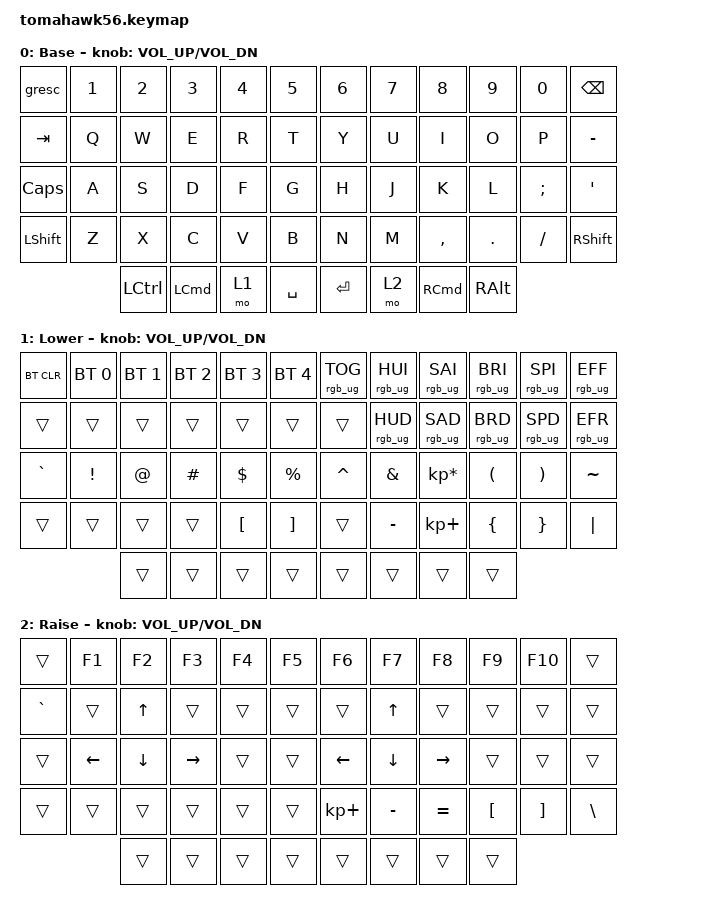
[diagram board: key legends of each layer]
/*
 * Copyright (c) 2020 The ZMK Contributors
 *
 * SPDX-License-Identifier: MIT
 */

#include <behaviors.dtsi>
#include <dt-bindings/zmk/keys.h>
#include <dt-bindings/zmk/bt.h>
#include <dt-bindings/zmk/ext_power.h>

/ {
    keymap {
        compatible = "zmk,keymap";

        default_layer {
// ------------------------------------------------------------------------------------------------------------
// |  ESC  |  1  |  2   |  3   |  4   |  5   |            |  6   |  7   |  8    |  9   |   0   | BSPC  |
// |  TAB  |  Q  |  W   |  E   |  R   |  T   |            |  Y   |  U   |  I    |  O   |   P   |   -   |
// |  CTRL |  A  |  S   |  D   |  F   |  G   |            |  H   |  J   |  K    |  L   |   ;   |   '   |
// | SHIFT |  Z  |  X   |  C   |  V   |  B   |            |  N   |  M   |  ,    |  .   |   /   | SHIFT |
//               | CTRL | CMD  |LOWER |SPACE |            |ENTER |RAISE |  CMD  | OPT  |

            display-name = "Base";
            bindings = <
&gresc          &kp N1  &kp N2            &kp N3            &kp N4  &kp N5               &kp N6  &kp N7  &kp N8             &kp N9          &kp N0    &kp BSPC
&kp TAB         &kp Q   &kp W             &kp E             &kp R   &kp T                &kp Y   &kp U   &kp I              &kp O           &kp P     &kp MINUS
&kp CAPSLOCK    &kp A   &kp S             &kp D             &kp F   &kp G                &kp H   &kp J   &kp K              &kp L           &kp SEMI  &kp SQT
&kp LEFT_SHIFT  &kp Z   &kp X             &kp C             &kp V   &kp B                &kp N   &kp M   &kp COMMA          &kp DOT         &kp FSLH  &kp RSHFT
                        &kp LEFT_CONTROL  &kp LEFT_COMMAND  &mo 1   &kp SPACE            &kp RET &mo 2   &kp RIGHT_COMMAND  &kp RIGHT_ALT
            >;

            sensor-bindings = <&inc_dec_kp C_VOL_UP C_VOL_DN>;
        };

        lower_layer {
// ------------------------------------------------------------------------------------------------------------
// | BTCLR | BT1 | BT2 |  BT3 |  BT4 |  BT5 |            |  UG  |  UG   |  UG   |  UG  |  UG   |  UG   |
// |       |     |     |      |      |      |            |      |  UG   |  UG   |  UG  |  UG   |  UG   |
// |   `   |  !  |  @  |  #   |  $   |  %   |            |  ^   |  &    |  *    |  (   |   )   |   ~   |
// |       |     |     |      |  [   |  ]   |            |      |  _    |  +    |  {   |   }   |  "|"  |
//                     |      |      |      |            |      |       |       |

            display-name = "Lower";
            bindings = <
&bt BT_CLR  &bt BT_SEL 0  &bt BT_SEL 1  &bt BT_SEL 2  &bt BT_SEL 3  &bt BT_SEL 4         &rgb_ug RGB_TOG  &rgb_ug RGB_HUI  &rgb_ug RGB_SAI  &rgb_ug RGB_BRI  &rgb_ug RGB_SPI  &rgb_ug RGB_EFF
&trans      &trans        &trans        &trans        &trans        &trans               &trans           &rgb_ug RGB_HUD  &rgb_ug RGB_SAD  &rgb_ug RGB_BRD  &rgb_ug RGB_SPD  &rgb_ug RGB_EFR
&kp GRAVE   &kp EXCL      &kp AT        &kp HASH      &kp DOLLAR    &kp PRCNT            &kp CARET  &kp AMPS   &kp KP_MULTIPLY  &kp LPAR  &kp RPAR  &kp TILDE
&trans      &trans        &trans        &trans        &kp LBKT      &kp RBKT             &trans     &kp MINUS  &kp KP_PLUS      &kp LBRC  &kp RBRC  &kp PIPE
                          &trans        &trans        &trans        &trans               &trans  &trans     &trans     &trans
            >;

            sensor-bindings = <&inc_dec_kp C_VOL_UP C_VOL_DN>;
        };

        raise_layer {
// ------------------------------------------------------------------------------------------------------------
// |       |  F1 |  F2 |  F3  |  F4  |  F5  |            |  F6  |   F7  |   F8  |  F9  |   F10 |       |
// |   `   |     |  ^  |      |      |      |            |      |       |   ^   |      |       |       |
// |       |  <- |  v  |  ->  |      |      |            |      |   <-  |   v   |  ^   |  ->   |       |
// |       |     |     |      |      |      |            |  +   |   -   |   =   |  [   |   ]   |   \   |
//                     |      |      |      |            |      |       |       |

            display-name = "Raise";
            bindings = <
&trans     &kp F1    &kp F2    &kp F3     &kp F4  &kp F5            &kp F6       &kp F7     &kp F8     &kp F9    &kp F10   &trans
&kp GRAVE  &trans    &kp UP    &trans     &trans  &trans            &trans       &kp UP     &trans     &trans    &trans    &trans
&trans     &kp LEFT  &kp DOWN  &kp RIGHT  &trans  &trans            &kp LEFT     &kp DOWN   &kp RIGHT  &trans    &trans    &trans
&trans     &trans    &trans    &trans     &trans  &trans            &kp KP_PLUS  &kp MINUS  &kp EQUAL  &kp LBKT  &kp RBKT  &kp BSLH
                     &trans    &trans     &trans  &trans            &trans       &trans     &trans     &trans
            >;

            sensor-bindings = <&inc_dec_kp C_VOL_UP C_VOL_DN>;
        };
    };
};
